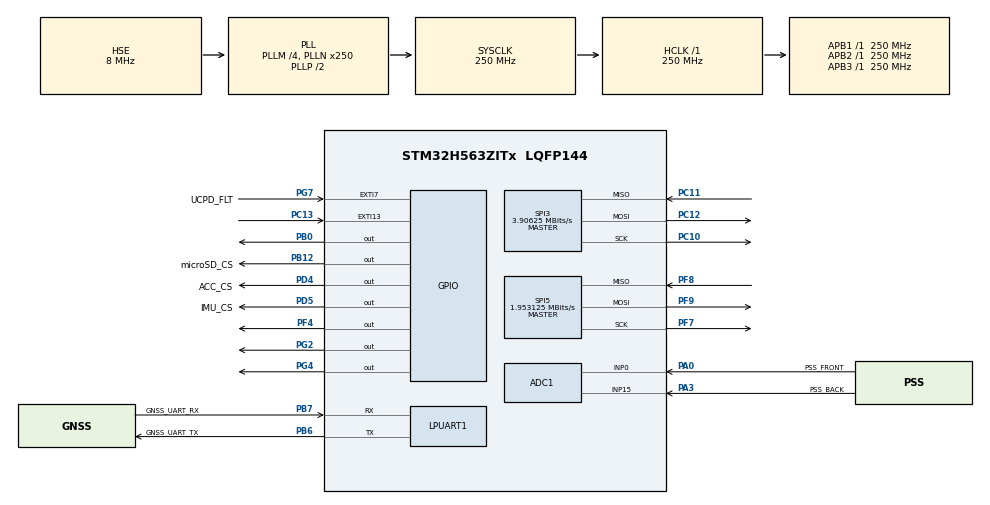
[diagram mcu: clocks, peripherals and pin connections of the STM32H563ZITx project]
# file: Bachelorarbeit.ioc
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ADC1.Channel-0\#ChannelRegularConversion=ADC_CHANNEL_0
ADC1.Channel-1\#ChannelRegularConversion=ADC_CHANNEL_15
ADC1.ContinuousConvMode=DISABLE
ADC1.MonitoredBy-1\#ChannelRegularConversion=__NULL
ADC1.NbrOfConversion=2
ADC1.OffsetNumber-1\#ChannelRegularConversion=ADC_OFFSET_NONE
ADC1.Rank-0\#ChannelRegularConversion=1
ADC1.Rank-1\#ChannelRegularConversion=2
ADC1.SamplingTime-0\#ChannelRegularConversion=ADC_SAMPLETIME_92CYCLES_5
ADC1.SamplingTime-1\#ChannelRegularConversion=ADC_SAMPLETIME_92CYCLES_5
ADC1.master=1
BOOTPATH.BootPathName=LEGACY
BOOTPATH.UserSelectedBootPath=LEGACY
CORTEX_M33_NS.userName=CORTEX_M33
Mcu.Family=STM32H5
Mcu.Name=STM32H563ZITx
Mcu.Package=LQFP144
NUCLEO-H563ZI.BUTTON=1
NUCLEO-H563ZI.LD1=true
NUCLEO-H563ZI.LD2=true
NUCLEO-H563ZI.LD3=true
NUCLEO-H563ZI.VCP=true
NVIC.EXTI13_IRQn=true\:0\:0\:false\:false\:true\:false\:true\:true
NVIC.PriorityGroup=NVIC_PRIORITYGROUP_4
PA0.GPIO_Label=PSS_FRONT
PA0.Signal=ADCx_INP0
PA1.GPIO_Label=RMII_REF_CLK
PA1.GPIO_Mode=GPIO_MODE_AF_PP
PA1.GPIO_PuPd=GPIO_NOPULL
PA1.GPIO_Speed=GPIO_SPEED_FREQ_LOW
PA1.Signal=ETH_REF_CLK
PA11.GPIO_Label=USB_FS_N
PA11.Signal=USB_DM
PA12.GPIO_Label=USB_FS_P
PA12.Signal=USB_DP
PA13(JTMS/SWDIO).GPIO_Label=SWDIO
PA13(JTMS/SWDIO).Signal=DEBUG_JTMS-SWDIO
PA14(JTCK/SWCLK).GPIO_Label=SWCLK
PA14(JTCK/SWCLK).Signal=DEBUG_JTCK-SWCLK
PA15(JTDI).GPIO_Label=T_JTDI
PA15(JTDI).Signal=DEBUG_JTDI
PA2.GPIO_Label=RMII_MDIO
PA2.GPIO_Mode=GPIO_MODE_AF_PP
PA2.GPIO_PuPd=GPIO_NOPULL
PA2.GPIO_Speed=GPIO_SPEED_FREQ_LOW
PA2.Signal=ETH_MDIO
PA3.GPIO_Label=PSS_BACK
PA3.Signal=ADCx_INP15
PA4.GPIO_Label=VBUS_SENSE
PA4.Signal=ADCx_INP18
PA5.Signal=SPI1_SCK
PA7.GPIO_Label=RMII_CRS_DV
PA7.GPIO_Mode=GPIO_MODE_AF_PP
PA7.GPIO_PuPd=GPIO_NOPULL
PA7.GPIO_Speed=GPIO_SPEED_FREQ_LOW
PA7.Signal=ETH_CRS_DV
PA9.GPIO_Label=UCDP_DBn
PA9.Signal=UCPD1_DB1
PB0.Signal=GPIO_Output
PB12.GPIO_Label=microSD_CS
PB12.PinState=GPIO_PIN_SET
PB12.Signal=GPIO_Output
PB13.GPIO_Label=UCPD_CC1
PB13.Signal=UCPD1_CC1
PB14.Signal=UCPD1_CC2
PB15.GPIO_Label=RMII_TXD1
PB15.GPIO_Mode=GPIO_MODE_AF_PP
PB15.GPIO_PuPd=GPIO_NOPULL
PB15.GPIO_Speed=GPIO_SPEED_FREQ_LOW
PB15.Signal=ETH_TXD1
PB3(JTDO/TRACESWO).GPIO_Label=SWO
PB3(JTDO/TRACESWO).Signal=DEBUG_JTDO-SWO
PB5.Signal=SPI1_MOSI
PB6.GPIO_Label=GNSS_UART_TX
PB6.Mode=Asynchronous
PB6.Signal=LPUART1_TX
PB7.GPIO_Label=GNSS_UART_RX
PB7.Mode=Asynchronous
PB7.Signal=LPUART1_RX
PC1.GPIO_Label=RMII_MDC
PC1.GPIO_Mode=GPIO_MODE_AF_PP
PC1.GPIO_PuPd=GPIO_NOPULL
PC1.GPIO_Speed=GPIO_SPEED_FREQ_LOW
PC1.Signal=ETH_MDC
PC10.Mode=Full_Duplex_Master
PC10.Signal=SPI3_SCK
PC11.Mode=Full_Duplex_Master
PC11.Signal=SPI3_MISO
PC12.Mode=Full_Duplex_Master
PC12.Signal=SPI3_MOSI
PC13.Signal=GPXTI13
PC14-OSC32_IN(OSC32_IN).Mode=LSE-External-Oscillator
PC14-OSC32_IN(OSC32_IN).Signal=RCC_OSC32_IN
PC15-OSC32_OUT(OSC32_OUT).Mode=LSE-External-Oscillator
PC15-OSC32_OUT(OSC32_OUT).Signal=RCC_OSC32_OUT
PC2.Signal=SPI2_MISO
PC4.GPIO_Label=RMII_RXD0
PC4.GPIO_Mode=GPIO_MODE_AF_PP
PC4.GPIO_PuPd=GPIO_NOPULL
PC4.GPIO_Speed=GPIO_SPEED_FREQ_LOW
PC4.Signal=ETH_RXD0
PC5.GPIO_Label=RMII_RXD1
PC5.GPIO_Mode=GPIO_MODE_AF_PP
PC5.GPIO_PuPd=GPIO_NOPULL
PC5.GPIO_Speed=GPIO_SPEED_FREQ_LOW
PC5.Signal=ETH_RXD1
PD3.Signal=SPI2_SCK
PD4.GPIO_Label=ACC_CS
PD4.PinState=GPIO_PIN_SET
PD4.Signal=GPIO_Output
PD5.GPIO_Label=IMU_CS
PD5.PinState=GPIO_PIN_SET
PD5.Signal=GPIO_Output
PD8.Signal=USART3_TX
PD9.Signal=USART3_RX
PE2.GPIO_Label=TRACE_CK
PE2.Signal=DEBUG_TRACECLK
PE3.GPIO_Label=TRACE_D0
PE3.Signal=DEBUG_TRACED0
PE4.GPIO_Label=TRACE_D1
PE4.Signal=DEBUG_TRACED1
PE5.GPIO_Label=TRACE_D2
PE5.Signal=DEBUG_TRACED2
PE6.GPIO_Label=TRACE_D3
PE6.Signal=DEBUG_TRACED3
PF4.Signal=GPIO_Output
PF7.Mode=Full_Duplex_Master
PF7.Signal=SPI5_SCK
PF8.Mode=Full_Duplex_Master
PF8.Signal=SPI5_MISO
PF9.Mode=Full_Duplex_Master
PF9.Signal=SPI5_MOSI
PG1.Signal=SPI2_MOSI
PG11.GPIO_Label=RMII_TXT_EN
PG11.GPIO_Mode=GPIO_MODE_AF_PP
PG11.GPIO_PuPd=GPIO_NOPULL
PG11.GPIO_Speed=GPIO_SPEED_FREQ_LOW
PG11.Signal=ETH_TX_EN
PG13.GPIO_Label=RMI_TXD0
PG13.GPIO_Mode=GPIO_MODE_AF_PP
PG13.GPIO_PuPd=GPIO_NOPULL
PG13.GPIO_Speed=GPIO_SPEED_FREQ_LOW
PG13.Signal=ETH_TXD0
PG2.Signal=GPIO_Output
PG4.Signal=GPIO_Output
PG7.GPIO_Label=UCPD_FLT
PG7.Signal=GPXTI7
PG9.Signal=SPI1_MISO
PH0-OSC_IN(PH0).GPIO_Label=STLK_MCO
PH0-OSC_IN(PH0).Mode=HSE-External-Clock-Source
PH0-OSC_IN(PH0).Signal=RCC_OSC_IN
ProjectManager.HeapSize=0x200
ProjectManager.StackSize=0x400
ProjectManager.TargetToolchain=STM32CubeIDE
RCC.ADCFreq_Value=250000000
RCC.AHBFreq_Value=250000000
RCC.APB1Freq_Value=250000000
RCC.APB1TimFreq_Value=250000000
RCC.APB2Freq_Value=250000000
RCC.APB2TimFreq_Value=250000000
RCC.APB3Freq_Value=250000000
RCC.CSI_VALUE=4000000
RCC.CortexFreq_Value=250000000
RCC.EPOD_VALUE=8000000
RCC.HCLKFreq_Value=250000000
RCC.HSE_VALUE=8000000
RCC.HSI48_VALUE=48000000
RCC.HSIDiv=RCC_HSI_DIV1
RCC.HSI_VALUE=64000000
RCC.LPUART1CLockSelection=RCC_LPUART1CLKSOURCE_CSI
RCC.LSIRC_VALUE=32000
RCC.PLLM=4
RCC.PLLN=250
RCC.PLLSourceVirtual=RCC_PLL1_SOURCE_HSE
RCC.SYSCLKFreq_VALUE=250000000
RCC.SYSCLKSource=RCC_SYSCLKSOURCE_PLLCLK
RCC.USBFreq_Value=48000000
RCC.VCOOutputFreq_Value=500000000
SH.ADCx_INP0.0=ADC1_INP0,IN0-Single-Ended
SH.ADCx_INP15.0=ADC1_INP15,IN15-Single-Ended
SH.ADCx_INP18.0=ADC1_INP18
SPI3.BaudRatePrescaler=SPI_BAUDRATEPRESCALER_64
SPI3.CalculateBaudRate=3.90625 MBits/s
SPI3.DataSize=SPI_DATASIZE_8BIT
SPI3.Direction=SPI_DIRECTION_2LINES
SPI3.Mode=SPI_MODE_MASTER
SPI3.VirtualType=VM_MASTER
SPI5.BaudRatePrescaler=SPI_BAUDRATEPRESCALER_128
SPI5.CalculateBaudRate=1.953125 MBits/s
SPI5.DataSize=SPI_DATASIZE_8BIT
SPI5.Direction=SPI_DIRECTION_2LINES
SPI5.Mode=SPI_MODE_MASTER
SPI5.VirtualType=VM_MASTER
VP_BOOTPATH_VS_BOOTPATH.Mode=BP_Activate
VP_CORTEX_M33_NS_VS_Hclk.Mode=Hclk_Mode
VP_MEMORYMAP_VS_MEMORYMAP.Mode=CurAppReg
VP_NUCLEO-H563ZI_VS_BSP_COMMON.Mode=COMMON
VP_PWR_VS_DBSignals.Mode=DisableDeadBatterySignals
VP_PWR_VS_LPOM.Mode=PowerOptimisation
VP_PWR_VS_SECSignals.Mode=Security/Privilege
board=NUCLEO-H563ZI

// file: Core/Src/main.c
/* USER CODE BEGIN Header */
/**
  ******************************************************************************
  * @file           : main.c
  * @brief          : Main program body
  ******************************************************************************
  * @attention
  *
  * Copyright (c) 2026 STMicroelectronics.
  * All rights reserved.
  *
  * This software is licensed under terms that can be found in the LICENSE file
  * in the root directory of this software component.
  * If no LICENSE file comes with this software, it is provided AS-IS.
  *
  ******************************************************************************
  */
/* USER CODE END Header */
#include "main.h"

/* USER CODE BEGIN Includes */
#include "app/app.h"
/* USER CODE END Includes */

COM_InitTypeDef BspCOMInit;
ADC_HandleTypeDef hadc1;

UART_HandleTypeDef hlpuart1;

SPI_HandleTypeDef hspi3;
SPI_HandleTypeDef hspi5;

void SystemClock_Config(void);
static void MX_GPIO_Init(void);
static void MX_ADC1_Init(void);
static void MX_LPUART1_UART_Init(void);
static void MX_SPI3_Init(void);
static void MX_SPI5_Init(void);

int main(void)
{

  /* MCU Configuration--------------------------------------------------------*/

  /* Reset of all peripherals, Initializes the Flash interface and the Systick. */
  HAL_Init();

  /* Configure the system clock */
  SystemClock_Config();

  /* USER CODE BEGIN SysInit */
  /* CSI-Oszillator (4 MHz) einschalten, bevor die Peripherie initialisiert
   * wird: LPUART1 (GNSS) und zeitweise SPI5 (microSD-Init) nutzen ihn als
   * langsame Taktquelle, weil PCLK3 (250 MHz) dafuer zu schnell ist. */
  {
    RCC_OscInitTypeDef csi_osc = { 0 };
    csi_osc.OscillatorType = RCC_OSCILLATORTYPE_CSI;
    csi_osc.CSIState = RCC_CSI_ON;
    csi_osc.CSICalibrationValue = RCC_CSICALIBRATION_DEFAULT;
    csi_osc.PLL.PLLState = RCC_PLL_NONE;
    if (HAL_RCC_OscConfig(&csi_osc) != HAL_OK)
    {
      Error_Handler();
    }
  }
  /* USER CODE END SysInit */

  /* Initialize all configured peripherals */
  MX_GPIO_Init();
  MX_ADC1_Init();
  MX_LPUART1_UART_Init();
  MX_SPI3_Init();
  MX_SPI5_Init();
  /* USER CODE BEGIN 2 */
  /* Konsole VOR app_init() aufsetzen: die Modul-Initialisierungen melden
   * ihre Ergebnisse bereits per printf ueber den ST-Link-VCP (COM1).
   * Frueher stand dafuer der BSP-Block weiter unten von Hand oberhalb
   * dieses Abschnitts -- das ueberlebt keine Code-Generierung. Deshalb
   * hier, innerhalb des USER-CODE-Bereichs. Der von CubeMX weiter unten
   * erzeugte BSP_COM_Init-Aufruf wiederholt die Initialisierung dann nur
   * mit denselben Parametern; das ist unschaedlich. */
  BspCOMInit.BaudRate   = 115200;
  BspCOMInit.WordLength = COM_WORDLENGTH_8B;
  BspCOMInit.StopBits   = COM_STOPBITS_1;
  BspCOMInit.Parity     = COM_PARITY_NONE;
  BspCOMInit.HwFlowCtl  = COM_HWCONTROL_NONE;
  if (BSP_COM_Init(COM1, &BspCOMInit) != BSP_ERROR_NONE)
  {
    Error_Handler();
  }

  if (app_init() != APP_STATUS_OK)
  {
    Error_Handler();
  }
  /* USER CODE END 2 */

  /* Initialize leds */
  BSP_LED_Init(LED_GREEN);
  BSP_LED_Init(LED_YELLOW);
  BSP_LED_Init(LED_RED);

  /* Initialize USER push-button, will be used to trigger an interrupt each time it's pressed.*/
  BSP_PB_Init(BUTTON_USER, BUTTON_MODE_EXTI);

  /* Initialize COM1 port (115200, 8 bits (7-bit data + 1 stop bit), no parity */
  BspCOMInit.BaudRate   = 115200;
  BspCOMInit.WordLength = COM_WORDLENGTH_8B;
  BspCOMInit.StopBits   = COM_STOPBITS_1;
  BspCOMInit.Parity     = COM_PARITY_NONE;
  BspCOMInit.HwFlowCtl  = COM_HWCONTROL_NONE;
  if (BSP_COM_Init(COM1, &BspCOMInit) != BSP_ERROR_NONE)
  {
    Error_Handler();
  }

  /* Infinite loop */
  while (1)
  {

    /* USER CODE BEGIN 3 */
    app_run();
  }
  /* USER CODE END 3 */
}

void SystemClock_Config(void)
{
  RCC_OscInitTypeDef RCC_OscInitStruct = {0};
  RCC_ClkInitTypeDef RCC_ClkInitStruct = {0};

  /** Configure the main internal regulator output voltage
  */
  __HAL_PWR_VOLTAGESCALING_CONFIG(PWR_REGULATOR_VOLTAGE_SCALE0);

  while(!__HAL_PWR_GET_FLAG(PWR_FLAG_VOSRDY)) {}

  /** Initializes the RCC Oscillators according to the specified parameters
  * in the RCC_OscInitTypeDef structure.
  */
  RCC_OscInitStruct.OscillatorType = RCC_OSCILLATORTYPE_HSE|RCC_OSCILLATORTYPE_CSI;
  RCC_OscInitStruct.HSEState = RCC_HSE_BYPASS;
  RCC_OscInitStruct.CSIState = RCC_CSI_ON;
  RCC_OscInitStruct.CSICalibrationValue = RCC_CSICALIBRATION_DEFAULT;
  RCC_OscInitStruct.PLL.PLLState = RCC_PLL_ON;
  RCC_OscInitStruct.PLL.PLLSource = RCC_PLL1_SOURCE_HSE;
  RCC_OscInitStruct.PLL.PLLM = 4;
  RCC_OscInitStruct.PLL.PLLN = 250;
  RCC_OscInitStruct.PLL.PLLP = 2;
  RCC_OscInitStruct.PLL.PLLQ = 2;
  RCC_OscInitStruct.PLL.PLLR = 2;
  RCC_OscInitStruct.PLL.PLLRGE = RCC_PLL1_VCIRANGE_1;
  RCC_OscInitStruct.PLL.PLLVCOSEL = RCC_PLL1_VCORANGE_WIDE;
  RCC_OscInitStruct.PLL.PLLFRACN = 0;
  if (HAL_RCC_OscConfig(&RCC_OscInitStruct) != HAL_OK)
  {
    Error_Handler();
  }

  /** Initializes the CPU, AHB and APB buses clocks
  */
  RCC_ClkInitStruct.ClockType = RCC_CLOCKTYPE_HCLK|RCC_CLOCKTYPE_SYSCLK
                              |RCC_CLOCKTYPE_PCLK1|RCC_CLOCKTYPE_PCLK2
                              |RCC_CLOCKTYPE_PCLK3;
  RCC_ClkInitStruct.SYSCLKSource = RCC_SYSCLKSOURCE_PLLCLK;
  RCC_ClkInitStruct.AHBCLKDivider = RCC_SYSCLK_DIV1;
  RCC_ClkInitStruct.APB1CLKDivider = RCC_HCLK_DIV1;
  RCC_ClkInitStruct.APB2CLKDivider = RCC_HCLK_DIV1;
  RCC_ClkInitStruct.APB3CLKDivider = RCC_HCLK_DIV1;

  if (HAL_RCC_ClockConfig(&RCC_ClkInitStruct, FLASH_LATENCY_5) != HAL_OK)
  {
    Error_Handler();
  }

  /** Configure the programming delay
  */
  __HAL_FLASH_SET_PROGRAM_DELAY(FLASH_PROGRAMMING_DELAY_2);
}

static void MX_ADC1_Init(void)
{

  ADC_ChannelConfTypeDef sConfig = {0};

  /** Common config
  */
  hadc1.Instance = ADC1;
  hadc1.Init.ClockPrescaler = ADC_CLOCK_ASYNC_DIV4;
  hadc1.Init.Resolution = ADC_RESOLUTION_12B;
  hadc1.Init.DataAlign = ADC_DATAALIGN_RIGHT;
  hadc1.Init.ScanConvMode = ADC_SCAN_ENABLE;
  hadc1.Init.EOCSelection = ADC_EOC_SINGLE_CONV;
  hadc1.Init.LowPowerAutoWait = DISABLE;
  hadc1.Init.ContinuousConvMode = DISABLE;
  hadc1.Init.NbrOfConversion = 2;
  hadc1.Init.DiscontinuousConvMode = DISABLE;
  hadc1.Init.ExternalTrigConv = ADC_SOFTWARE_START;
  hadc1.Init.ExternalTrigConvEdge = ADC_EXTERNALTRIGCONVEDGE_NONE;
  hadc1.Init.DMAContinuousRequests = DISABLE;
  hadc1.Init.SamplingMode = ADC_SAMPLING_MODE_NORMAL;
  hadc1.Init.Overrun = ADC_OVR_DATA_PRESERVED;
  hadc1.Init.OversamplingMode = DISABLE;
  if (HAL_ADC_Init(&hadc1) != HAL_OK)
  {
    Error_Handler();
  }

  /** Configure Regular Channel
  */
  /* DIAGNOSE 19.08.2026 -- Raenge vertauscht (war: PA0 Rang 1, PA3 Rang 2).
   * PA0 rauscht siebenfach staerker als PA3. Der Tausch der Sensorleitungen
   * hat gezeigt, dass es nicht am Sensor liegt; offen ist, ob es am Pin PA0
   * haengt oder an der ERSTEN Wandlung nach jedem HAL_ADC_Start(). Wandert
   * das Rauschen mit diesem Tausch auf PA3, ist es die Reihenfolge.
   * brake_adc_scan() ist passend dazu umgestellt, damit p_vorne weiterhin
   * PA0 meint. ZURUECKBAUEN, sobald die Frage beantwortet ist.
   * ACHTUNG: Diese Zeilen liegen ausserhalb der USER-CODE-Bereiche und gehen
   * bei einer CubeMX-Regenerierung verloren. */
  sConfig.Channel = ADC_CHANNEL_0;
  sConfig.Rank = ADC_REGULAR_RANK_2;
  sConfig.SamplingTime = ADC_SAMPLETIME_92CYCLES_5;
  sConfig.SingleDiff = ADC_SINGLE_ENDED;
  sConfig.OffsetNumber = ADC_OFFSET_NONE;
  sConfig.Offset = 0;
  if (HAL_ADC_ConfigChannel(&hadc1, &sConfig) != HAL_OK)
  {
    Error_Handler();
  }

  /** Configure Regular Channel
  */
  sConfig.Channel = ADC_CHANNEL_15;
  sConfig.Rank = ADC_REGULAR_RANK_1;
  if (HAL_ADC_ConfigChannel(&hadc1, &sConfig) != HAL_OK)
  {
    Error_Handler();
  }

}

static void MX_LPUART1_UART_Init(void)
{

  hlpuart1.Instance = LPUART1;
  hlpuart1.Init.BaudRate = 209700;
  hlpuart1.Init.WordLength = UART_WORDLENGTH_8B;
  hlpuart1.Init.StopBits = UART_STOPBITS_1;
  hlpuart1.Init.Parity = UART_PARITY_NONE;
  hlpuart1.Init.Mode = UART_MODE_TX_RX;
  hlpuart1.Init.HwFlowCtl = UART_HWCONTROL_NONE;
  hlpuart1.Init.OneBitSampling = UART_ONE_BIT_SAMPLE_DISABLE;
  hlpuart1.AdvancedInit.AdvFeatureInit = UART_ADVFEATURE_NO_INIT;
  hlpuart1.FifoMode = UART_FIFOMODE_DISABLE;
  if (HAL_UART_Init(&hlpuart1) != HAL_OK)
  {
    Error_Handler();
  }
  if (HAL_UARTEx_SetTxFifoThreshold(&hlpuart1, UART_TXFIFO_THRESHOLD_1_8) != HAL_OK)
  {
    Error_Handler();
  }
  if (HAL_UARTEx_SetRxFifoThreshold(&hlpuart1, UART_RXFIFO_THRESHOLD_1_8) != HAL_OK)
  {
    Error_Handler();
  }
  if (HAL_UARTEx_DisableFifoMode(&hlpuart1) != HAL_OK)
  {
    Error_Handler();
  }

}

static void MX_SPI3_Init(void)
{

  /* SPI3 parameter configuration*/
  hspi3.Instance = SPI3;
  hspi3.Init.Mode = SPI_MODE_MASTER;
  hspi3.Init.Direction = SPI_DIRECTION_2LINES;
  hspi3.Init.DataSize = SPI_DATASIZE_8BIT;
  hspi3.Init.CLKPolarity = SPI_POLARITY_LOW;
  hspi3.Init.CLKPhase = SPI_PHASE_1EDGE;
  hspi3.Init.NSS = SPI_NSS_SOFT;
  hspi3.Init.BaudRatePrescaler = SPI_BAUDRATEPRESCALER_64;
  hspi3.Init.FirstBit = SPI_FIRSTBIT_MSB;
  hspi3.Init.TIMode = SPI_TIMODE_DISABLE;
  hspi3.Init.CRCCalculation = SPI_CRCCALCULATION_DISABLE;
  hspi3.Init.CRCPolynomial = 0x7;
  hspi3.Init.NSSPMode = SPI_NSS_PULSE_ENABLE;
  hspi3.Init.NSSPolarity = SPI_NSS_POLARITY_LOW;
  hspi3.Init.FifoThreshold = SPI_FIFO_THRESHOLD_01DATA;
  hspi3.Init.MasterSSIdleness = SPI_MASTER_SS_IDLENESS_00CYCLE;
  hspi3.Init.MasterInterDataIdleness = SPI_MASTER_INTERDATA_IDLENESS_00CYCLE;
  hspi3.Init.MasterReceiverAutoSusp = SPI_MASTER_RX_AUTOSUSP_DISABLE;
  hspi3.Init.MasterKeepIOState = SPI_MASTER_KEEP_IO_STATE_DISABLE;
  hspi3.Init.IOSwap = SPI_IO_SWAP_DISABLE;
  hspi3.Init.ReadyMasterManagement = SPI_RDY_MASTER_MANAGEMENT_INTERNALLY;
  hspi3.Init.ReadyPolarity = SPI_RDY_POLARITY_HIGH;
  if (HAL_SPI_Init(&hspi3) != HAL_OK)
  {
    Error_Handler();
  }

}

static void MX_SPI5_Init(void)
{

  /* SPI5 parameter configuration*/
  hspi5.Instance = SPI5;
  hspi5.Init.Mode = SPI_MODE_MASTER;
  hspi5.Init.Direction = SPI_DIRECTION_2LINES;
  hspi5.Init.DataSize = SPI_DATASIZE_8BIT;
  hspi5.Init.CLKPolarity = SPI_POLARITY_LOW;
  hspi5.Init.CLKPhase = SPI_PHASE_1EDGE;
  hspi5.Init.NSS = SPI_NSS_SOFT;
  hspi5.Init.BaudRatePrescaler = SPI_BAUDRATEPRESCALER_128;
  hspi5.Init.FirstBit = SPI_FIRSTBIT_MSB;
  hspi5.Init.TIMode = SPI_TIMODE_DISABLE;
  hspi5.Init.CRCCalculation = SPI_CRCCALCULATION_DISABLE;
  hspi5.Init.CRCPolynomial = 0x7;
  hspi5.Init.NSSPMode = SPI_NSS_PULSE_ENABLE;
  hspi5.Init.NSSPolarity = SPI_NSS_POLARITY_LOW;
  hspi5.Init.FifoThreshold = SPI_FIFO_THRESHOLD_01DATA;
  hspi5.Init.MasterSSIdleness = SPI_MASTER_SS_IDLENESS_00CYCLE;
  hspi5.Init.MasterInterDataIdleness = SPI_MASTER_INTERDATA_IDLENESS_00CYCLE;
  hspi5.Init.MasterReceiverAutoSusp = SPI_MASTER_RX_AUTOSUSP_DISABLE;
  hspi5.Init.MasterKeepIOState = SPI_MASTER_KEEP_IO_STATE_DISABLE;
  hspi5.Init.IOSwap = SPI_IO_SWAP_DISABLE;
  hspi5.Init.ReadyMasterManagement = SPI_RDY_MASTER_MANAGEMENT_INTERNALLY;
  hspi5.Init.ReadyPolarity = SPI_RDY_POLARITY_HIGH;
  if (HAL_SPI_Init(&hspi5) != HAL_OK)
  {
    Error_Handler();
  }

}

static void MX_GPIO_Init(void)
{
  GPIO_InitTypeDef GPIO_InitStruct = {0};

  /* GPIO Ports Clock Enable */
  __HAL_RCC_GPIOE_CLK_ENABLE();
  __HAL_RCC_GPIOC_CLK_ENABLE();
  __HAL_RCC_GPIOF_CLK_ENABLE();
  __HAL_RCC_GPIOH_CLK_ENABLE();
  __HAL_RCC_GPIOA_CLK_ENABLE();
  __HAL_RCC_GPIOG_CLK_ENABLE();
  __HAL_RCC_GPIOB_CLK_ENABLE();
  __HAL_RCC_GPIOD_CLK_ENABLE();

  /*Configure GPIO pin Output Level */
  HAL_GPIO_WritePin(microSD_CS_GPIO_Port, microSD_CS_Pin, GPIO_PIN_SET);

  /*Configure GPIO pin Output Level */
  HAL_GPIO_WritePin(GPIOG, GPIO_PIN_2, GPIO_PIN_RESET);

  /*Configure GPIO pin Output Level */
  HAL_GPIO_WritePin(GPIOD, ACC_CS_Pin|IMU_CS_Pin, GPIO_PIN_SET);

  /*Configure GPIO pins : RMII_MDC_Pin RMII_RXD0_Pin RMII_RXD1_Pin */
  GPIO_InitStruct.Pin = RMII_MDC_Pin|RMII_RXD0_Pin|RMII_RXD1_Pin;
  GPIO_InitStruct.Mode = GPIO_MODE_AF_PP;
  GPIO_InitStruct.Pull = GPIO_NOPULL;
  GPIO_InitStruct.Speed = GPIO_SPEED_FREQ_HIGH;
  GPIO_InitStruct.Alternate = GPIO_AF11_ETH;
  HAL_GPIO_Init(GPIOC, &GPIO_InitStruct);

  /*Configure GPIO pin : PC2 */
  GPIO_InitStruct.Pin = GPIO_PIN_2;
  GPIO_InitStruct.Mode = GPIO_MODE_AF_PP;
  GPIO_InitStruct.Pull = GPIO_NOPULL;
  GPIO_InitStruct.Speed = GPIO_SPEED_FREQ_LOW;
  GPIO_InitStruct.Alternate = GPIO_AF5_SPI2;
  HAL_GPIO_Init(GPIOC, &GPIO_InitStruct);

  /*Configure GPIO pins : RMII_REF_CLK_Pin RMII_MDIO_Pin RMII_CRS_DV_Pin */
  GPIO_InitStruct.Pin = RMII_REF_CLK_Pin|RMII_MDIO_Pin|RMII_CRS_DV_Pin;
  GPIO_InitStruct.Mode = GPIO_MODE_AF_PP;
  GPIO_InitStruct.Pull = GPIO_NOPULL;
  GPIO_InitStruct.Speed = GPIO_SPEED_FREQ_HIGH;
  GPIO_InitStruct.Alternate = GPIO_AF11_ETH;
  HAL_GPIO_Init(GPIOA, &GPIO_InitStruct);

  /*Configure GPIO pin : PA5 */
  GPIO_InitStruct.Pin = GPIO_PIN_5;
  GPIO_InitStruct.Mode = GPIO_MODE_AF_PP;
  GPIO_InitStruct.Pull = GPIO_NOPULL;
  GPIO_InitStruct.Speed = GPIO_SPEED_FREQ_LOW;
  GPIO_InitStruct.Alternate = GPIO_AF5_SPI1;
  HAL_GPIO_Init(GPIOA, &GPIO_InitStruct);

  /*Configure GPIO pin : PG1 */
  GPIO_InitStruct.Pin = GPIO_PIN_1;
  GPIO_InitStruct.Mode = GPIO_MODE_AF_PP;
  GPIO_InitStruct.Pull = GPIO_NOPULL;
  GPIO_InitStruct.Speed = GPIO_SPEED_FREQ_LOW;
  GPIO_InitStruct.Alternate = GPIO_AF7_SPI2;
  HAL_GPIO_Init(GPIOG, &GPIO_InitStruct);

  /*Configure GPIO pin : microSD_CS_Pin */
  GPIO_InitStruct.Pin = microSD_CS_Pin;
  GPIO_InitStruct.Mode = GPIO_MODE_OUTPUT_PP;
  GPIO_InitStruct.Pull = GPIO_NOPULL;
  GPIO_InitStruct.Speed = GPIO_SPEED_FREQ_LOW;
  HAL_GPIO_Init(microSD_CS_GPIO_Port, &GPIO_InitStruct);

  /*Configure GPIO pins : UCPD_CC1_Pin PB14 */
  GPIO_InitStruct.Pin = UCPD_CC1_Pin|GPIO_PIN_14;
  GPIO_InitStruct.Mode = GPIO_MODE_ANALOG;
  GPIO_InitStruct.Pull = GPIO_NOPULL;
  HAL_GPIO_Init(GPIOB, &GPIO_InitStruct);

  /*Configure GPIO pin : RMII_TXD1_Pin */
  GPIO_InitStruct.Pin = RMII_TXD1_Pin;
  GPIO_InitStruct.Mode = GPIO_MODE_AF_PP;
  GPIO_InitStruct.Pull = GPIO_NOPULL;
  GPIO_InitStruct.Speed = GPIO_SPEED_FREQ_HIGH;
  GPIO_InitStruct.Alternate = GPIO_AF11_ETH;
  HAL_GPIO_Init(RMII_TXD1_GPIO_Port, &GPIO_InitStruct);

  /*Configure GPIO pin : PG2 */
  GPIO_InitStruct.Pin = GPIO_PIN_2;
  GPIO_InitStruct.Mode = GPIO_MODE_OUTPUT_PP;
  GPIO_InitStruct.Pull = GPIO_NOPULL;
  GPIO_InitStruct.Speed = GPIO_SPEED_FREQ_LOW;
  HAL_GPIO_Init(GPIOG, &GPIO_InitStruct);

  /*Configure GPIO pin : UCPD_FLT_Pin */
  GPIO_InitStruct.Pin = UCPD_FLT_Pin;
  GPIO_InitStruct.Mode = GPIO_MODE_IT_RISING;
  GPIO_InitStruct.Pull = GPIO_NOPULL;
  HAL_GPIO_Init(UCPD_FLT_GPIO_Port, &GPIO_InitStruct);

  /*Configure GPIO pins : USB_FS_N_Pin USB_FS_P_Pin */
  GPIO_InitStruct.Pin = USB_FS_N_Pin|USB_FS_P_Pin;
  GPIO_InitStruct.Mode = GPIO_MODE_AF_PP;
  GPIO_InitStruct.Pull = GPIO_NOPULL;
  GPIO_InitStruct.Speed = GPIO_SPEED_FREQ_LOW;
  GPIO_InitStruct.Alternate = GPIO_AF10_USB;
  HAL_GPIO_Init(GPIOA, &GPIO_InitStruct);

  /*Configure GPIO pin : PD3 */
  GPIO_InitStruct.Pin = GPIO_PIN_3;
  GPIO_InitStruct.Mode = GPIO_MODE_AF_PP;
  GPIO_InitStruct.Pull = GPIO_NOPULL;
  GPIO_InitStruct.Speed = GPIO_SPEED_FREQ_LOW;
  GPIO_InitStruct.Alternate = GPIO_AF5_SPI2;
  HAL_GPIO_Init(GPIOD, &GPIO_InitStruct);

  /*Configure GPIO pins : ACC_CS_Pin IMU_CS_Pin */
  GPIO_InitStruct.Pin = ACC_CS_Pin|IMU_CS_Pin;
  GPIO_InitStruct.Mode = GPIO_MODE_OUTPUT_PP;
  GPIO_InitStruct.Pull = GPIO_NOPULL;
  GPIO_InitStruct.Speed = GPIO_SPEED_FREQ_LOW;
  HAL_GPIO_Init(GPIOD, &GPIO_InitStruct);

  /*Configure GPIO pin : PG9 */
  GPIO_InitStruct.Pin = GPIO_PIN_9;
  GPIO_InitStruct.Mode = GPIO_MODE_AF_PP;
  GPIO_InitStruct.Pull = GPIO_NOPULL;
  GPIO_InitStruct.Speed = GPIO_SPEED_FREQ_LOW;
  GPIO_InitStruct.Alternate = GPIO_AF5_SPI1;
  HAL_GPIO_Init(GPIOG, &GPIO_InitStruct);

  /*Configure GPIO pins : RMII_TXT_EN_Pin RMI_TXD0_Pin */
  GPIO_InitStruct.Pin = RMII_TXT_EN_Pin|RMI_TXD0_Pin;
  GPIO_InitStruct.Mode = GPIO_MODE_AF_PP;
  GPIO_InitStruct.Pull = GPIO_NOPULL;
  GPIO_InitStruct.Speed = GPIO_SPEED_FREQ_HIGH;
  GPIO_InitStruct.Alternate = GPIO_AF11_ETH;
  HAL_GPIO_Init(GPIOG, &GPIO_InitStruct);

  /*Configure GPIO pin : PB5 */
  GPIO_InitStruct.Pin = GPIO_PIN_5;
  GPIO_InitStruct.Mode = GPIO_MODE_AF_PP;
  GPIO_InitStruct.Pull = GPIO_NOPULL;
  GPIO_InitStruct.Speed = GPIO_SPEED_FREQ_LOW;
  GPIO_InitStruct.Alternate = GPIO_AF5_SPI1;
  HAL_GPIO_Init(GPIOB, &GPIO_InitStruct);

}

/* USER CODE BEGIN 4 */

/* printf/stdout wird bereits von Drivers/BSP/.../stm32h5xx_nucleo.c
 * (__io_putchar, USE_COM_LOG) ueber den ST-Link VCP (COM1) umgeleitet. */

/* USER CODE END 4 */

void Error_Handler(void)
{
  __disable_irq();
  while (1)
  {
  }
}
